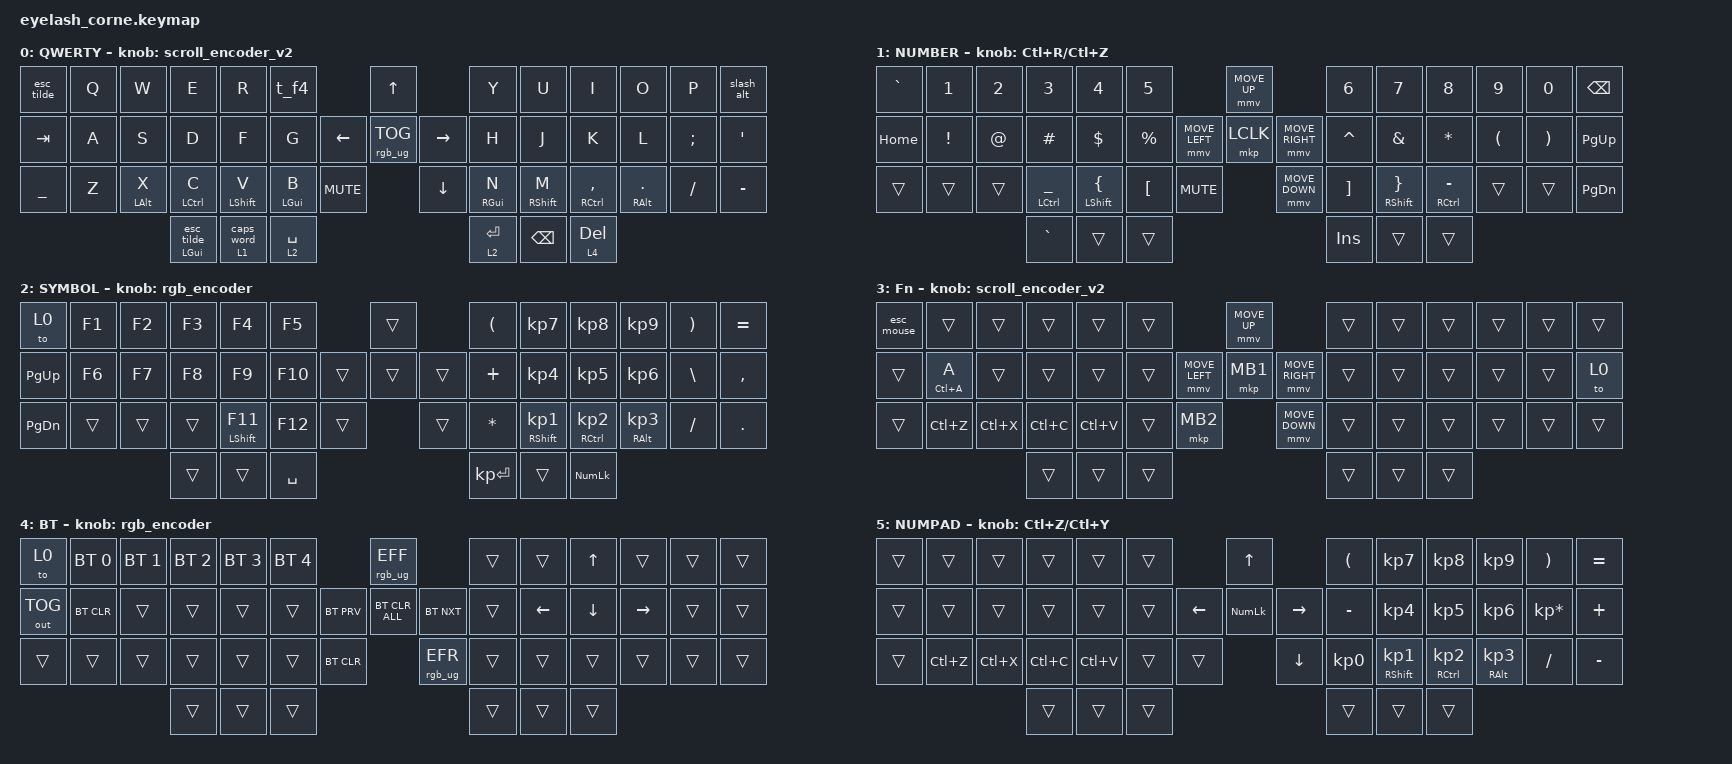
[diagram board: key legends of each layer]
#define ZMK_POINTING_DEFAULT_MOVE_VAL 1200  // 600
#define ZMK_POINTING_DEFAULT_SCRL_VAL 25   // 10

#include <input/processors.dtsi>
#include <zephyr/dt-bindings/input/input-event-codes.h>
#include <behaviors.dtsi>
#include <dt-bindings/zmk/bt.h>
#include <dt-bindings/zmk/keys.h>
#include <dt-bindings/zmk/outputs.h>
#include <dt-bindings/zmk/pointing.h>
#include <dt-bindings/zmk/rgb.h>

&mmv_input_listener { input-processors = <&zip_xy_scaler 2 1>; };

&msc_input_listener { input-processors = <&zip_scroll_scaler 1 1>; };

&msc {
    acceleration-exponent = <0>;      // 0
    time-to-max-speed-ms = <0>;       // 300
    delay-ms = <0>;                   // 0
};

&mmv {
    time-to-max-speed-ms = <500>;
    acceleration-exponent = <1>;
    trigger-period-ms = <16>;
};

&soft_off { hold-time-ms = <2000>; };

/ {
    behaviors {
        scroll_encoder_v2: scroll_encoder_v2 {
            compatible = "zmk,behavior-sensor-rotate";
            #sensor-binding-cells = <0>;
            bindings = <&msc SCRL_DOWN>, <&msc SCRL_UP>;
            tap-ms = <20>;
        };

        hm: homerow_mods {
            compatible = "zmk,behavior-hold-tap";
            label = "HOMEROW_MODS";
            #binding-cells = <2>;
            tapping-term-ms = <200>;
            quick-tap-ms = <175>;
            flavor = "balanced";
            bindings = <&kp>, <&kp>;
        };

        td0: td0 {
            compatible = "zmk,behavior-tap-dance";
            display-name = "Shift/Caps Lock Tap Dance";
            #binding-cells = <0>;
            bindings = <&kp LEFT_SHIFT>, <&kp CAPS>;
        };

        esc_tilde: esc_tilde {
            compatible = "zmk,behavior-mod-morph";
            label = "ESC_TILDE";
            bindings = <&kp ESC>, <&kp TILDE>;

            #binding-cells = <0>;
            mods = <(MOD_LSFT|MOD_RSFT)>;
        };

        slash_equal: slash_equal {
            compatible = "zmk,behavior-mod-morph";
            label = "SLASH_EQUAL";
            bindings = <&kp NON_US_BACKSLASH>, <&kp EQUAL>;

            #binding-cells = <0>;
            mods = <(MOD_LCTL|MOD_RCTL)>;
        };

        t_f4: t_f4 {
            compatible = "zmk,behavior-mod-morph";
            label = "T_F4";
            bindings = <&kp T>, <&none>;

            #binding-cells = <0>;
            mods = <(MOD_LGUI|MOD_RGUI)>;
        };

        mouse_tog: mouse_tog {
            compatible = "zmk,behavior-tap-dance";
            label = "MOUSE_TOG";
            #binding-cells = <0>;
            bindings = <&kp SINGLE_QUOTE>, <&none>, <&tog 3>;
        };

        caps_num: caps_num {
            compatible = "zmk,behavior-hold-tap";
            label = "CAPS_NUM";
            bindings = <&mo>, <&caps_word>;

            #binding-cells = <2>;
            tapping-term-ms = <200>;
        };

        caps_tog: caps_tog {
            compatible = "zmk,behavior-tap-dance";
            label = "CAPS_TOG";
            #binding-cells = <0>;
            bindings = <&caps_num 1 0>, <&kp CAPSLOCK>;
        };

        kp_menu: kp_menu {
            compatible = "zmk,behavior-tap-dance";
            label = "KP_MENU";
            #binding-cells = <0>;
            bindings = <&mt LEFT_GUI C_MENU>, <&kp K_MENU>;
        };

        new_behavior: new_behavior {
            compatible = "zmk,behavior-mod-morph";
            label = "NEW_BEHAVIOR";
            bindings = <&slash_equal>, <&kp PLUS>;

            #binding-cells = <0>;
            mods = <(MOD_LALT|MOD_RALT)>;
        };

        slash_alt: slash_alt {
            compatible = "zmk,behavior-mod-morph";
            label = "SLASH_ALT";
            bindings = <&slash_equal>, <&kp PLUS>;

            #binding-cells = <0>;
            mods = <(MOD_LALT|MOD_RALT)>;
        };

        escTilde_btm: escTilde_btm {
            compatible = "zmk,behavior-hold-tap";
            label = "ESCTILDE_BTM";
            bindings = <&kp>, <&esc_tilde>;

            #binding-cells = <2>;
            tapping-term-ms = <200>;
        };

        mouse_v: mouse_v {
            compatible = "zmk,behavior-mod-morph";
            label = "MOUSE_V";
            bindings = <&kp LC(V)>, <&kp LS(V)>;

            #binding-cells = <0>;
            mods = <(MOD_LCTL|MOD_LALT|MOD_LGUI|MOD_RCTL|MOD_RSFT|MOD_RALT|MOD_RGUI)>;
        };

        mouse_c: mouse_c {
            compatible = "zmk,behavior-mod-morph";
            label = "MOUSE_C";
            bindings = <&kp LC(C)>, <&kp C>;

            #binding-cells = <0>;
            mods = <(MOD_LSFT|MOD_LALT|MOD_LGUI|MOD_RCTL|MOD_RSFT|MOD_RALT|MOD_RGUI)>;
        };

        mouse_x: mouse_x {
            compatible = "zmk,behavior-mod-morph";
            label = "MOUSE_X";
            bindings = <&kp LC(X)>, <&kp LA(X)>;

            #binding-cells = <0>;
            mods = <(MOD_LCTL|MOD_LSFT|MOD_LGUI|MOD_RCTL|MOD_RSFT|MOD_RALT|MOD_RGUI)>;
        };

        mouse_z: mouse_z {
            compatible = "zmk,behavior-mod-morph";
            label = "MOUSE_Z";
            bindings = <&kp LC(Z)>, <&kp Z>;

            #binding-cells = <0>;
            mods = <(MOD_LCTL|MOD_LSFT|MOD_LALT|MOD_LGUI|MOD_RCTL|MOD_RSFT|MOD_RALT|MOD_RGUI)>;
        };

        esc_mouse: esc_mouse {
            compatible = "zmk,behavior-tap-dance";
            label = "ESC_MOUSE";
            #binding-cells = <0>;
            bindings = <&esc_tilde>, <&esc_tilde>, <&to 0>;
        };

        slash_plus: slash_plus {
            compatible = "zmk,behavior-mod-morph";
            label = "SLASH_PLUS";
            bindings = <&kp SLASH>, <&kp PLUS>;

            #binding-cells = <0>;
            mods = <(MOD_LGUI|MOD_RGUI)>;
        };
    };

    rgb_encoder: rgb_encoder {
        compatible = "zmk,behavior-sensor-rotate";
        #sensor-binding-cells = <0>;
        bindings = <&rgb_ug RGB_BRI>, <&rgb_ug RGB_BRD>;
    };

    scroll_encoder: scroll_encoder {
        compatible = "zmk,behavior-sensor-rotate";
        #sensor-binding-cells = <0>;
        bindings = <&msc SCRL_DOWN>, <&msc SCRL_UP>;

        tap-ms = <100>;
    };

    combos {
        compatible = "zmk,combos";

        softoff {
            bindings = <&soft_off>;
            key-positions = <1 15 29>;
        };

        undo {
            bindings = <&kp LC(Z)>;
            key-positions = <28 29>;
            layers = <0 2 5 1 3 4>;
        };

        copy {
            bindings = <&kp LC(C)>;
            key-positions = <28 31>;
            layers = <0 1 2 3 4 5>;
        };

        cut {
            bindings = <&kp LC(X)>;
            key-positions = <28 30>;
            layers = <0 1 2 3 4 5>;
        };

        tab {
            bindings = <&kp TAB>;
            key-positions = <44 43>;
            layers = <0 1 2>;
        };

        del_combo {
            bindings = <&kp DEL>;
            key-positions = <45 46>;
            layers = <0 1 2>;
        };

        underscore {
            bindings = <&kp UNDERSCORE>;
            key-positions = <33 36>;
            layers = <0 1 2>;
        };

        dash {
            bindings = <&kp MINUS>;
            key-positions = <18 22>;
            layers = <0 1 2>;
        };

        default_layer {
            bindings = <&to 0>;
            key-positions = <44 43 45 46>;
            layers = <0 1 2>;
        };

        plus {
            bindings = <&kp PLUS>;
            key-positions = <12 37>;
            layers = <0 2 1>;
        };

        grave_combo {
            bindings = <&kp GRAVE>;
            key-positions = <43 42>;
            layers = <0 2 1>;
        };

        esc-combo {
            bindings = <&kp ESCAPE>;
            key-positions = <23 24>;
            layers = <0 2 1 3>;
        };
    };

    keymap {
        compatible = "zmk,keymap";

        default_layer {
            display-name = "QWERTY";
            bindings = <
&esc_tilde      &kp Q  &kp W           &kp E                 &kp R             &t_f4                                   &kp UP                      &kp Y            &kp U              &kp I            &kp O              &kp P     &slash_alt
&kp TAB         &kp A  &kp S           &kp D                 &kp F             &kp G                         &kp LEFT  &rgb_ug RGB_TOG  &kp RIGHT  &kp H            &kp J              &kp K            &kp L              &kp SEMI  &kp SQT
&kp UNDERSCORE  &kp Z  &hm LEFT_ALT X  &hm LCTRL C           &hm LEFT_SHIFT V  &hm LEFT_GUI B  &kp K_MUTE              &kp DOWN                    &hm RIGHT_GUI N  &hm RIGHT_SHIFT M  &hm RCTRL COMMA  &hm RIGHT_ALT DOT  &kp FSLH  &kp MINUS
                                       &escTilde_btm LGUI 0  &caps_num 1 0     &lt 2 SPACE                                                         &lt 2 ENTER      &kp BACKSPACE      &lt 4 DELETE
            >;

            sensor-bindings = <&scroll_encoder_v2>;
        };

        lower_layer {
            display-name = "NUMBER";
            bindings = <
&kp GRAVE  &kp N1           &kp N2  &kp N3                &kp N4                     &kp N5                                          &mmv MOVE_UP                     &kp N6             &kp N7                       &kp N8           &kp N9                &kp N0                 &kp BSPC
&kp HOME   &kp EXCLAMATION  &kp AT  &kp HASH              &kp DOLLAR                 &kp PERCENT                     &mmv MOVE_LEFT  &mkp LCLK       &mmv MOVE_RIGHT  &kp CARET          &kp AMPS                     &kp ASTERISK     &kp LEFT_PARENTHESIS  &kp RIGHT_PARENTHESIS  &kp PG_UP
&trans     &trans           &trans  &mt LCTRL UNDERSCORE  &mt LEFT_SHIFT LEFT_BRACE  &kp LEFT_BRACKET  &kp K_MUTE                    &mmv MOVE_DOWN                   &kp RIGHT_BRACKET  &mt RIGHT_SHIFT RIGHT_BRACE  &mt RCTRL MINUS  &trans                &trans                 &kp PG_DN
                                    &kp GRAVE             &trans                     &trans                                                                           &kp INS            &trans                       &trans
            >;

            sensor-bindings = <&inc_dec_kp LC(R) LC(Z)>;
        };

        FN {
            display-name = "SYMBOL";
            bindings = <
&to 0          &kp F1  &kp F2  &kp F3  &kp F4              &kp F5                       &trans          &kp LEFT_PARENTHESIS  &kp KP_N7              &kp KP_N8        &kp KP_NUMBER_9      &kp RPAR   &kp EQUAL
&kp PAGE_UP    &kp F6  &kp F7  &kp F8  &kp F9              &kp F10              &trans  &trans  &trans  &kp PLUS              &kp KP_N4              &kp KP_NUMBER_5  &kp KP_N6            &kp BSLH   &kp COMMA
&kp PAGE_DOWN  &trans  &trans  &trans  &mt LEFT_SHIFT F11  &kp F12    &trans            &trans          &kp ASTERISK          &mt RIGHT_SHIFT KP_N1  &mt RCTRL KP_N2  &mt RIGHT_ALT KP_N3  &kp SLASH  &kp PERIOD
                               &trans  &trans              &kp SPACE                                    &kp KP_ENTER          &trans                 &kp KP_NUM
            >;

            sensor-bindings = <&rgb_encoder>;
            label = "FN";
        };

        mouse_layer {
            display-name = "Fn";
            bindings = <
&esc_mouse  &trans       &trans     &trans     &trans     &trans                              &mmv MOVE_UP                     &trans  &trans  &trans  &trans  &trans  &trans
&trans      &mt LC(A) A  &trans     &trans     &trans     &trans              &mmv MOVE_LEFT  &mkp MB1        &mmv MOVE_RIGHT  &trans  &trans  &trans  &trans  &trans  &to 0
&trans      &kp LC(Z)    &kp LC(X)  &kp LC(C)  &kp LC(V)  &trans  &mkp MB2                    &mmv MOVE_DOWN                   &trans  &trans  &trans  &trans  &trans  &trans
                                    &trans     &trans     &trans                                                               &trans  &trans  &trans
            >;

            sensor-bindings = <&scroll_encoder_v2>;
            label = "MOUSE";
        };

        MISC {
            bindings = <
&to 0         &bt BT_SEL 0  &bt BT_SEL 1  &bt BT_SEL 2  &bt BT_SEL 3  &bt BT_SEL 4                            &rgb_ug RGB_EFF              &trans  &trans    &kp UP_ARROW  &trans     &trans  &trans
&out OUT_TOG  &bt BT_CLR    &trans        &trans        &trans        &trans                      &bt BT_PRV  &bt BT_CLR_ALL   &bt BT_NXT  &trans  &kp LEFT  &kp DOWN      &kp RIGHT  &trans  &trans
&trans        &trans        &trans        &trans        &trans        &trans        &bt BT_CLR                &rgb_ug RGB_EFR              &trans  &trans    &trans        &trans     &trans  &trans
                                          &trans        &trans        &trans                                                               &trans  &trans    &trans
            >;

            sensor-bindings = <&rgb_encoder>;
            label = "BT";
        };

        numpad {
            bindings = <
&trans  &trans     &trans     &trans     &trans     &trans                      &kp UP_ARROW               &kp LEFT_PARENTHESIS  &kp KP_NUMBER_7              &kp KP_NUMBER_8        &kp KP_NUMBER_9       &kp RIGHT_PARENTHESIS  &kp EQUAL
&trans  &trans     &trans     &trans     &trans     &trans            &kp LEFT  &kp KP_NUMLOCK  &kp RIGHT  &kp MINUS             &kp KP_NUMBER_4              &kp KP_NUMBER_5        &kp KP_NUMBER_6       &kp KP_MULTIPLY        &kp PLUS
&trans  &kp LC(Z)  &kp LC(X)  &kp LC(C)  &kp LC(V)  &trans  &trans              &kp DOWN                   &kp KP_NUMBER_0       &mt RIGHT_SHIFT KP_NUMBER_1  &mt RCTRL KP_NUMBER_2  &mt RALT KP_NUMBER_3  &kp SLASH              &kp MINUS
                              &trans     &trans     &trans                                                 &trans                &trans                       &trans
            >;

            label = "NUMPAD";
            sensor-bindings = <&inc_dec_kp LC(Z) LC(Y)>;
        };
    };
};
